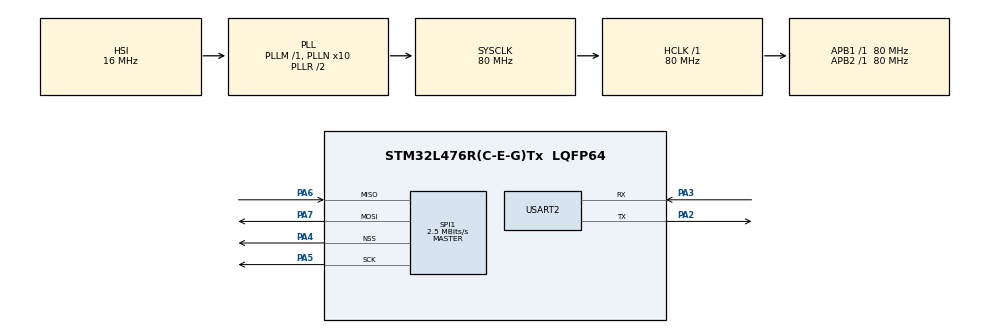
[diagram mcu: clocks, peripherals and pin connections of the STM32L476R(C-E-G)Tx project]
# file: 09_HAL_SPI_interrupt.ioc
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Mcu.Family=STM32L4
Mcu.Name=STM32L476R(C-E-G)Tx
Mcu.Package=LQFP64
NVIC.PriorityGroup=NVIC_PRIORITYGROUP_4
NVIC.SPI1_IRQn=true\:0\:0\:false\:false\:true\:true\:true\:true
PA13\ (JTMS-SWDIO).GPIO_Label=TMS
PA13\ (JTMS-SWDIO).Mode=Serial_Wire
PA13\ (JTMS-SWDIO).Signal=SYS_JTMS-SWDIO
PA14\ (JTCK-SWCLK).GPIO_Label=TCK
PA14\ (JTCK-SWCLK).Mode=Serial_Wire
PA14\ (JTCK-SWCLK).Signal=SYS_JTCK-SWCLK
PA2.Mode=Asynchronous
PA2.Signal=USART2_TX
PA3.Mode=Asynchronous
PA3.Signal=USART2_RX
PA4.Mode=NSS_Signal_Hard_Output
PA4.Signal=SPI1_NSS
PA5.Mode=Full_Duplex_Master
PA5.Signal=SPI1_SCK
PA6.Mode=Full_Duplex_Master
PA6.Signal=SPI1_MISO
PA7.Mode=Full_Duplex_Master
PA7.Signal=SPI1_MOSI
PB3\ (JTDO-TRACESWO).GPIO_Label=SWO
PB3\ (JTDO-TRACESWO).Signal=SYS_JTDO-SWO
ProjectManager.HeapSize=0x200
ProjectManager.StackSize=0x400
ProjectManager.TargetToolchain=STM32CubeIDE
RCC.ADCFreq_Value=64000000
RCC.AHBFreq_Value=80000000
RCC.APB1Freq_Value=80000000
RCC.APB1TimFreq_Value=80000000
RCC.APB2Freq_Value=80000000
RCC.APB2TimFreq_Value=80000000
RCC.CortexFreq_Value=80000000
RCC.HCLKFreq_Value=80000000
RCC.HSE_VALUE=8000000
RCC.HSI_VALUE=16000000
RCC.LSE_VALUE=32768
RCC.MSI_VALUE=4000000
RCC.PLLN=10
RCC.PLLSourceVirtual=RCC_PLLSOURCE_HSI
RCC.PREFETCH_ENABLE=1
RCC.SYSCLKFreq_VALUE=80000000
RCC.SYSCLKSource=RCC_SYSCLKSOURCE_PLLCLK
RCC.USBFreq_Value=64000000
RCC.VCOOutputFreq_Value=160000000
SPI1.BaudRatePrescaler=SPI_BAUDRATEPRESCALER_32
SPI1.CalculateBaudRate=2.5 MBits/s
SPI1.DataSize=SPI_DATASIZE_8BIT
SPI1.Direction=SPI_DIRECTION_2LINES
SPI1.Mode=SPI_MODE_MASTER
SPI1.VirtualNSS=VM_NSSHARD
SPI1.VirtualType=VM_MASTER
USART2.VirtualMode-Asynchronous=VM_ASYNC
board=NUCLEO-L476RG

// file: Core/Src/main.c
/* USER CODE BEGIN Header */
/**
  ******************************************************************************
  * @file           : main.c
  * @brief          : Main program body
  ******************************************************************************
  * @attention
  *
  * Copyright (c) 2025 STMicroelectronics.
  * All rights reserved.
  *
  * This software is licensed under terms that can be found in the LICENSE file
  * in the root directory of this software component.
  * If no LICENSE file comes with this software, it is provided AS-IS.
  *
  ******************************************************************************
  */
/* USER CODE END Header */
#include "main.h"

/* USER CODE BEGIN Includes */
#define MISO PA6
#define MOSI PA7
#define SCK PA5
#define CS	PA4
/* USER CODE END Includes */

SPI_HandleTypeDef hspi1;

UART_HandleTypeDef huart2;

uint8_t spi_rx_done;
uint8_t spi_tx_done;

void SystemClock_Config(void);
static void MX_GPIO_Init(void);
static void MX_USART2_UART_Init(void);
static void MX_SPI1_Init(void);
/* USER CODE BEGIN PFP */
void mymain(void);
/* USER CODE END PFP */

/* USER CODE BEGIN 0 */
void W25Q_WriteByte(uint32_t addr, uint8_t data)
{
    uint8_t cmd[5];

    /* 1) Write enable */
    uint8_t wen = 0x06;
    spi_tx_done = 0;
    HAL_SPI_Transmit_IT(&hspi1, &wen, 1);
    while(!spi_tx_done);
    /* 2) Page Program command */
    cmd[0] = 0x02;                      // Page Program
    cmd[1] = (addr >> 16) & 0xFF;       // 24-bit address: A23..A16
    cmd[2] = (addr >> 8) & 0xFF;        // A15..A8
    cmd[3] = addr & 0xFF;               // A7..A0
    cmd[4] = data;
    spi_tx_done = 0;
    HAL_SPI_Transmit_IT(&hspi1, cmd, 5);  // send command + address
    while(!spi_tx_done);
}
uint8_t W25Q_ReadByte(uint32_t addr)
{
    uint8_t cmd[4];
    uint8_t data;

    cmd[0] = 0x03;                      // Read Data
    cmd[1] = (addr >> 16) & 0xFF;
    cmd[2] = (addr >> 8) & 0xFF;
    cmd[3] = addr & 0xFF;
    spi_tx_done = 0;
    HAL_SPI_Transmit_IT(&hspi1, cmd, 4);
    while(!spi_tx_done);
    spi_rx_done = 0;
    HAL_SPI_Receive_IT(&hspi1, &data, 1);
    while(!spi_rx_done);

    return data;
}
extern void initialise_monitor_handles();
/* USER CODE END 0 */

int main(void)
{

  /* USER CODE BEGIN 1 */
	//my_main();
	initialise_monitor_handles();
  /* USER CODE END 1 */

  /* MCU Configuration--------------------------------------------------------*/

  /* Reset of all peripherals, Initializes the Flash interface and the Systick. */
  HAL_Init();

  /* Configure the system clock */
  SystemClock_Config();

  /* Initialize all configured peripherals */
  MX_GPIO_Init();
  MX_USART2_UART_Init();
  MX_SPI1_Init();

  /* Infinite loop */
  while (1)
  {

    /* USER CODE BEGIN 3 */
	  W25Q_WriteByte(0, 12);
	  printf("%d\n",W25Q_ReadByte(0));
	  HAL_Delay(1000);
  }
  /* USER CODE END 3 */
}

void SystemClock_Config(void)
{
  RCC_OscInitTypeDef RCC_OscInitStruct = {0};
  RCC_ClkInitTypeDef RCC_ClkInitStruct = {0};

  /** Configure the main internal regulator output voltage
  */
  if (HAL_PWREx_ControlVoltageScaling(PWR_REGULATOR_VOLTAGE_SCALE1) != HAL_OK)
  {
    Error_Handler();
  }

  /** Initializes the RCC Oscillators according to the specified parameters
  * in the RCC_OscInitTypeDef structure.
  */
  RCC_OscInitStruct.OscillatorType = RCC_OSCILLATORTYPE_HSI;
  RCC_OscInitStruct.HSIState = RCC_HSI_ON;
  RCC_OscInitStruct.HSICalibrationValue = RCC_HSICALIBRATION_DEFAULT;
  RCC_OscInitStruct.PLL.PLLState = RCC_PLL_ON;
  RCC_OscInitStruct.PLL.PLLSource = RCC_PLLSOURCE_HSI;
  RCC_OscInitStruct.PLL.PLLM = 1;
  RCC_OscInitStruct.PLL.PLLN = 10;
  RCC_OscInitStruct.PLL.PLLP = RCC_PLLP_DIV7;
  RCC_OscInitStruct.PLL.PLLQ = RCC_PLLQ_DIV2;
  RCC_OscInitStruct.PLL.PLLR = RCC_PLLR_DIV2;
  if (HAL_RCC_OscConfig(&RCC_OscInitStruct) != HAL_OK)
  {
    Error_Handler();
  }

  /** Initializes the CPU, AHB and APB buses clocks
  */
  RCC_ClkInitStruct.ClockType = RCC_CLOCKTYPE_HCLK|RCC_CLOCKTYPE_SYSCLK
                              |RCC_CLOCKTYPE_PCLK1|RCC_CLOCKTYPE_PCLK2;
  RCC_ClkInitStruct.SYSCLKSource = RCC_SYSCLKSOURCE_PLLCLK;
  RCC_ClkInitStruct.AHBCLKDivider = RCC_SYSCLK_DIV1;
  RCC_ClkInitStruct.APB1CLKDivider = RCC_HCLK_DIV1;
  RCC_ClkInitStruct.APB2CLKDivider = RCC_HCLK_DIV1;

  if (HAL_RCC_ClockConfig(&RCC_ClkInitStruct, FLASH_LATENCY_4) != HAL_OK)
  {
    Error_Handler();
  }
}

void HAL_SPI_TxCpltCallback(SPI_HandleTypeDef *hspi)
{
    if (hspi == &hspi1) {
        spi_tx_done = 1;
    }
}

/* Called by HAL when a Rx-only completes */
void HAL_SPI_RxCpltCallback(SPI_HandleTypeDef *hspi)
{
    if (hspi == &hspi1) {
        spi_rx_done = 1;
    }
}

static void MX_SPI1_Init(void)
{

  /* SPI1 parameter configuration*/
  hspi1.Instance = SPI1;
  hspi1.Init.Mode = SPI_MODE_MASTER;
  hspi1.Init.Direction = SPI_DIRECTION_2LINES;
  hspi1.Init.DataSize = SPI_DATASIZE_8BIT;
  hspi1.Init.CLKPolarity = SPI_POLARITY_LOW;
  hspi1.Init.CLKPhase = SPI_PHASE_1EDGE;
  hspi1.Init.NSS = SPI_NSS_HARD_OUTPUT;
  hspi1.Init.BaudRatePrescaler = SPI_BAUDRATEPRESCALER_32;
  hspi1.Init.FirstBit = SPI_FIRSTBIT_MSB;
  hspi1.Init.TIMode = SPI_TIMODE_DISABLE;
  hspi1.Init.CRCCalculation = SPI_CRCCALCULATION_DISABLE;
  hspi1.Init.CRCPolynomial = 7;
  hspi1.Init.CRCLength = SPI_CRC_LENGTH_DATASIZE;
  hspi1.Init.NSSPMode = SPI_NSS_PULSE_ENABLE;
  if (HAL_SPI_Init(&hspi1) != HAL_OK)
  {
    Error_Handler();
  }

}

static void MX_USART2_UART_Init(void)
{

  huart2.Instance = USART2;
  huart2.Init.BaudRate = 115200;
  huart2.Init.WordLength = UART_WORDLENGTH_8B;
  huart2.Init.StopBits = UART_STOPBITS_1;
  huart2.Init.Parity = UART_PARITY_NONE;
  huart2.Init.Mode = UART_MODE_TX_RX;
  huart2.Init.HwFlowCtl = UART_HWCONTROL_NONE;
  huart2.Init.OverSampling = UART_OVERSAMPLING_16;
  huart2.Init.OneBitSampling = UART_ONE_BIT_SAMPLE_DISABLE;
  huart2.AdvancedInit.AdvFeatureInit = UART_ADVFEATURE_NO_INIT;
  if (HAL_UART_Init(&huart2) != HAL_OK)
  {
    Error_Handler();
  }

}

static void MX_GPIO_Init(void)
{

  /* GPIO Ports Clock Enable */
  __HAL_RCC_GPIOA_CLK_ENABLE();
  __HAL_RCC_GPIOB_CLK_ENABLE();

}

void Error_Handler(void)
{
  __disable_irq();
  while (1)
  {
  }
}
